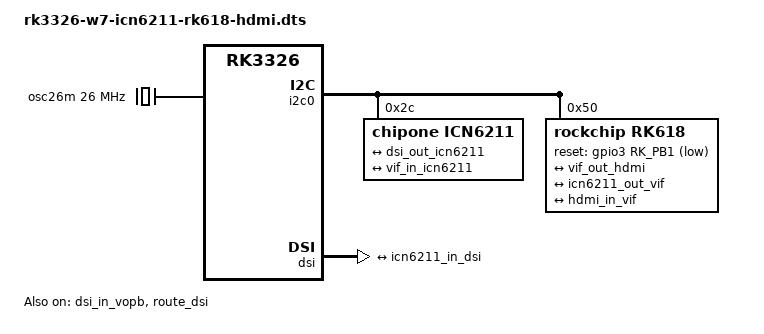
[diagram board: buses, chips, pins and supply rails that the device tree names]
// SPDX-License-Identifier: GPL-2.0
/*
 * Copyright (c) 2018 Fuzhou Rockchip Electronics Co., Ltd
 */

/dts-v1/;
#include <dt-bindings/clock/rk618-cru.h>
#include "rk3326-w7.dtsi"

/ {
	osc26m: osc26m {
		compatible = "fixed-clock";
		#clock-cells = <0>;
		clock-frequency = <26000000>;
	};
};

&dmc {
	auto-freq-en = <0>;
};

&i2c0 {
	status = "okay";

	icn6211@2c {
		compatible = "chipone,icn6211";
		reg = <0x2c>;
		clocks = <&osc26m>;
		clock-names = "refclk";

		ports {
			#address-cells = <1>;
			#size-cells = <0>;

			port@0 {
				reg = <0>;

				icn6211_in_dsi: endpoint {
					remote-endpoint = <&dsi_out_icn6211>;
				};
			};

			port@1 {
				reg = <1>;

				icn6211_out_vif: endpoint {
					remote-endpoint = <&vif_in_icn6211>;
				};
			};
		};
	};

	rk618@50 {
		compatible = "rockchip,rk618";
		reg = <0x50>;
		pinctrl-names = "default";
		pinctrl-0 = <&i2s1_2ch_mclk>;
		clocks = <&cru SCLK_I2S1_OUT>;
		clock-names = "clkin";
		assigned-clocks = <&cru SCLK_I2S1_OUT>;
		assigned-clock-rates = <12000000>;
		reset-gpios = <&gpio3 RK_PB1 GPIO_ACTIVE_LOW>;
		status = "okay";

		clock: cru {
			compatible = "rockchip,rk618-cru";
			clocks = <&cru SCLK_I2S1_OUT>, <&cru DCLK_VOPB>;
			clock-names = "clkin", "lcdc0_dclkp";
			assigned-clocks = <&clock SCALER_PLLIN_CLK>,
					  <&clock VIF_PLLIN_CLK>,
					  <&clock SCALER_CLK>,
					  <&clock VIF0_PRE_CLK>,
					  <&clock CODEC_CLK>,
					  <&clock DITHER_CLK>;
			assigned-clock-parents = <&cru SCLK_I2S1_OUT>,
						 <&cru SCLK_I2S1_OUT>,
						 <&clock SCALER_PLL_CLK>,
						 <&clock VIF_PLL_CLK>,
						 <&cru SCLK_I2S1_OUT>,
						 <&clock VIF0_CLK>;
			#clock-cells = <1>;
			status = "okay";
		};

		hdmi {
			compatible = "rockchip,rk618-hdmi";
			clocks = <&clock HDMI_CLK>;
			clock-names = "hdmi";
			assigned-clocks = <&clock HDMI_CLK>;
			assigned-clock-parents = <&clock VIF0_CLK>;
			interrupt-parent = <&gpio2>;
			interrupts = <13 IRQ_TYPE_LEVEL_HIGH>;
			status = "okay";

			ports {
				#address-cells = <1>;
				#size-cells = <0>;

				port@0 {
					reg = <0>;

					hdmi_in_vif: endpoint {
						remote-endpoint = <&vif_out_hdmi>;
					};
				};
			};
		};

		vif {
			compatible = "rockchip,rk618-vif";
			clocks = <&clock VIF0_CLK>, <&clock VIF0_PRE_CLK>;
			clock-names = "vif", "vif_pre";
			status = "okay";

			ports {
				#address-cells = <1>;
				#size-cells = <0>;

				port@0 {
					reg = <0>;

					vif_in_icn6211: endpoint {
						remote-endpoint = <&icn6211_out_vif>;
					};
				};

				port@1 {
					reg = <1>;

					vif_out_hdmi: endpoint {
						remote-endpoint = <&hdmi_in_vif>;
					};
				};
			};
		};
	};
};

&dsi {
	status = "okay";

	ports {
		port@1 {
			reg = <1>;

			dsi_out_icn6211: endpoint {
				remote-endpoint = <&icn6211_in_dsi>;
			};
		};
	};
};

&dsi_in_vopb {
	status = "okay";
};

&dsi_in_vopl {
	status = "disabled";
};

&route_dsi {
	connect = <&vopb_out_dsi>;
	status = "okay";
};
